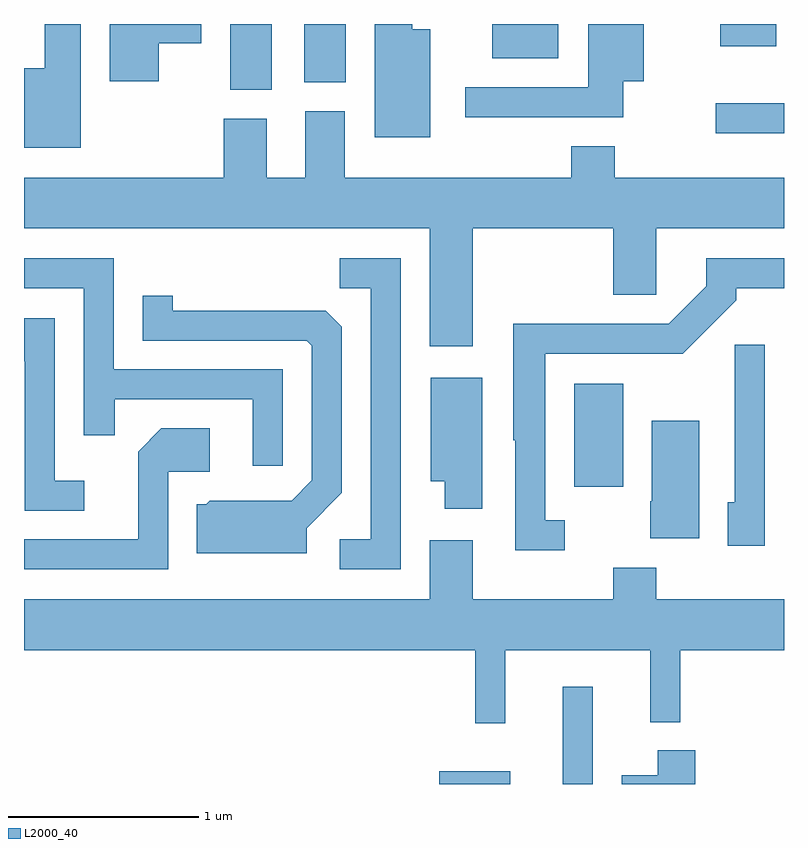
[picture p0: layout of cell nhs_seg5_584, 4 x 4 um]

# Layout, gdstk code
import gdstk
lib = gdstk.Library(unit=1e-6, precision=1e-09)
def R(c, l, rs):  # rectangles x0, y0, x1, y1
    for r in rs: c.add(gdstk.rectangle(r[:2], r[2:], *l))
def P(c, l, *ps):  # polygons
    for p in ps: c.add(gdstk.Polygon(p, *l))
L2000_40 = (2000, 40)

nhs_seg5_584 = lib.new_cell('nhs_seg5_584')
R(nhs_seg5_584, L2000_40, [(203.796,1476.072,204.169,1476.139), (204.446,1476.072,204.604,1476.583), (204.506,1477.636,204.764,1478.179), (205.253,1479.496,205.611,1479.654), (202.696,1479.726,202.914,1480.072), (203.086,1479.766,203.304,1480.072), (204.076,1479.891,204.424,1480.072), (205.276,1479.956,205.569,1480.072)])
P(nhs_seg5_584, L2000_40, [(202.319,1479.971),(202.544,1479.971),(202.544,1480.072),(202.061,1480.072),(202.061,1479.771),(202.319,1479.771)],
  [(201.909,1480.072),(201.721,1480.072),(201.721,1479.839),(201.611,1479.839),(201.611,1479.421),(201.909,1479.421)],
  [(204.764,1479.771),(204.874,1479.771),(204.874,1480.072),(204.581,1480.072),(204.581,1479.739),(203.933,1479.739),(203.933,1479.581),(204.764,1479.581)],
  [(203.749,1480.044),(203.654,1480.044),(203.654,1480.072),(203.456,1480.072),(203.456,1479.476),(203.749,1479.476)],
  [(203.974,1478.996),(204.711,1478.996),(204.711,1478.646),(204.939,1478.646),(204.939,1478.996),(205.611,1478.996),(205.611,1479.264),(204.719,1479.264),(204.719,1479.429),(204.491,1479.429),(204.491,1479.264),(203.299,1479.264),(203.299,1479.614),(203.091,1479.614),(203.091,1479.264),(202.889,1479.264),(202.889,1479.574),(202.661,1479.574),(202.661,1479.264),(201.611,1479.264),(201.611,1478.996),(203.746,1478.996),(203.746,1478.376),(203.974,1478.376)],
  [(203.594,1478.839),(203.273,1478.839),(203.273,1478.681),(203.436,1478.681),(203.436,1477.359),(203.273,1477.359),(203.273,1477.201),(203.594,1477.201)],
  [(202.974,1478.254),(202.084,1478.254),(202.084,1478.839),(201.611,1478.839),(201.611,1478.681),(201.926,1478.681),(201.926,1477.908),(202.089,1477.908),(202.089,1478.096),(202.816,1478.096),(202.816,1477.748),(202.974,1477.748)],
  [(204.458,1477.459),(204.354,1477.459),(204.354,1478.336),(205.077,1478.336),(205.359,1478.619),(205.359,1478.681),(205.611,1478.681),(205.611,1478.839),(205.201,1478.839),(205.201,1478.692),(205.004,1478.494),(204.186,1478.494),(204.186,1477.88),(204.196,1477.88),(204.196,1477.301),(204.458,1477.301)],
  [(203.099,1477.419),(203.284,1477.604),(203.284,1478.479),(203.199,1478.564),(202.394,1478.564),(202.394,1478.643),(202.236,1478.643),(202.236,1478.406),(203.099,1478.406),(203.126,1478.379),(203.126,1477.672),(203.019,1477.564),(202.589,1477.564),(202.569,1477.544),(202.521,1477.544),(202.521,1477.286),(203.099,1477.286)],
  [(201.928,1477.669),(201.774,1477.669),(201.774,1478.524),(201.611,1478.524),(201.611,1478.296),(201.616,1478.296),(201.616,1477.511),(201.928,1477.511)],
  [(205.509,1478.383),(205.351,1478.383),(205.351,1477.554),(205.316,1477.554),(205.316,1477.326),(205.509,1477.326)],
  [(204.024,1478.209),(203.751,1478.209),(203.751,1477.666),(203.826,1477.666),(203.826,1477.521),(204.024,1477.521)],
  [(205.164,1477.984),(204.916,1477.984),(204.916,1477.56),(204.906,1477.56),(204.906,1477.366),(205.164,1477.366)],
  [(202.369,1477.716),(202.589,1477.716),(202.589,1477.944),(202.334,1477.944),(202.211,1477.822),(202.211,1477.359),(201.611,1477.359),(201.611,1477.201),(202.369,1477.201)],
  [(204.144,1476.776),(204.906,1476.776),(204.906,1476.398),(205.064,1476.398),(205.064,1476.776),(205.611,1476.776),(205.611,1477.044),(204.939,1477.044),(204.939,1477.209),(204.711,1477.209),(204.711,1477.044),(203.974,1477.044),(203.974,1477.354),(203.746,1477.354),(203.746,1477.044),(201.611,1477.044),(201.611,1476.776),(203.986,1476.776),(203.986,1476.393),(204.144,1476.393)],
  [(205.144,1476.249),(204.946,1476.249),(204.946,1476.119),(204.756,1476.119),(204.756,1476.072),(205.144,1476.072)])

lib.write_gds('nhs_seg5_584.gds')
